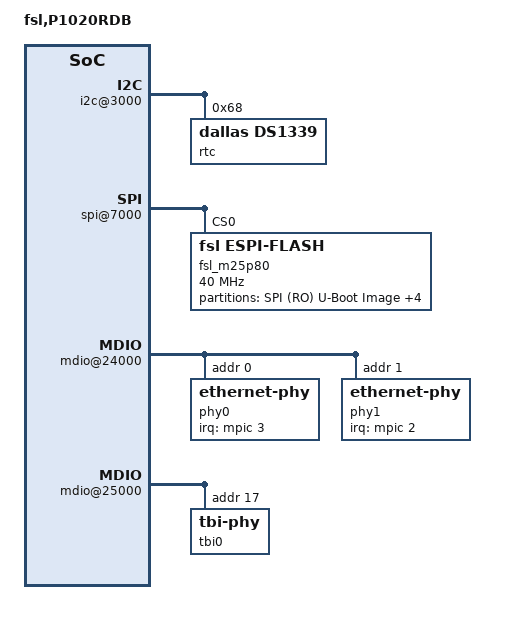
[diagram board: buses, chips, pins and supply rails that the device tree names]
/*
 * P1020 RDB  Core0 Device Tree Source in CAMP mode.
 *
 * In CAMP mode, each core needs to have its own dts. Only mpic and L2 cache
 * can be shared, all the other devices must be assigned to one core only.
 * This dts file allows core0 to have memory, l2, i2c, spi, gpio, tdm, dma, usb,
 * eth1, eth2, sdhc, crypto, global-util, message, pci0, pci1, msi.
 *
 * Please note to add "-b 0" for core0's dts compiling.
 *
 * Copyright 2011 Freescale Semiconductor Inc.
 *
 * This program is free software; you can redistribute  it and/or modify it
 * under  the terms of  the GNU General  Public License as published by the
 * Free Software Foundation;  either version 2 of the  License, or (at your
 * option) any later version.
 */

/include/ "p1020si.dtsi"

/ {
	model = "fsl,P1020RDB";
	compatible = "fsl,P1020RDB", "fsl,MPC85XXRDB-CAMP";

	aliases {
		ethernet1 = &enet1;
		ethernet2 = &enet2;
		serial0 = &serial0;
		pci0 = &pci0;
		pci1 = &pci1;
	};

	cpus {
		PowerPC,P1020@1 {
		status = "disabled";
		};
	};

	memory {
		device_type = "memory";
	};

	localbus@ffe05000 {
		status = "disabled";
	};

	soc@ffe00000 {
		i2c@3000 {
			rtc@68 {
				compatible = "dallas,ds1339";
				reg = <0x68>;
			};
		};

		serial1: serial@4600 {
			status = "disabled";
		};

		spi@7000 {
			fsl_m25p80@0 {
				#address-cells = <1>;
				#size-cells = <1>;
				compatible = "fsl,espi-flash";
				reg = <0>;
				linux,modalias = "fsl_m25p80";
				spi-max-frequency = <40000000>;

				partition@0 {
					/* 512KB for u-boot Bootloader Image */
					reg = <0x0 0x00080000>;
					label = "SPI (RO) U-Boot Image";
					read-only;
				};

				partition@80000 {
					/* 512KB for DTB Image */
					reg = <0x00080000 0x00080000>;
					label = "SPI (RO) DTB Image";
					read-only;
				};

				partition@100000 {
					/* 4MB for Linux Kernel Image */
					reg = <0x00100000 0x00400000>;
					label = "SPI (RO) Linux Kernel Image";
					read-only;
				};

				partition@500000 {
					/* 4MB for Compressed RFS Image */
					reg = <0x00500000 0x00400000>;
					label = "SPI (RO) Compressed RFS Image";
					read-only;
				};

				partition@900000 {
					/* 7MB for JFFS2 based RFS */
					reg = <0x00900000 0x00700000>;
					label = "SPI (RW) JFFS2 RFS";
				};
			};
		};

		mdio@24000 {
			phy0: ethernet-phy@0 {
				interrupt-parent = <&mpic>;
				interrupts = <3 1>;
				reg = <0x0>;
			};
			phy1: ethernet-phy@1 {
				interrupt-parent = <&mpic>;
				interrupts = <2 1>;
				reg = <0x1>;
			};
		};

		mdio@25000 {
			tbi0: tbi-phy@11 {
				reg = <0x11>;
				device_type = "tbi-phy";
			};
		};

		enet0: ethernet@b0000 {
			status = "disabled";
		};

		enet1: ethernet@b1000 {
			phy-handle = <&phy0>;
			tbi-handle = <&tbi0>;
			phy-connection-type = "sgmii";
		};

		enet2: ethernet@b2000 {
			phy-handle = <&phy1>;
			phy-connection-type = "rgmii-id";
		};

		usb@22000 {
			phy_type = "ulpi";
		};

		/* USB2 is shared with localbus, so it must be disabled
		   by default. We can't put 'status = "disabled";' here
		   since U-Boot doesn't clear the status property when
		   it enables USB2. OTOH, U-Boot does create a new node
		   when there isn't any. So, just comment it out.
		usb@23000 {
			phy_type = "ulpi";
		};
		*/

		mpic: pic@40000 {
			protected-sources = <
			42 29 30 34	/* serial1, enet0-queue-group0 */
			17 18 24 45	/* enet0-queue-group1, crypto */
			>;
		};

	};

	pci0: pcie@ffe09000 {
		ranges = <0x2000000 0x0 0xa0000000 0 0xa0000000 0x0 0x20000000
			  0x1000000 0x0 0x00000000 0 0xffc10000 0x0 0x10000>;
		interrupt-map-mask = <0xf800 0x0 0x0 0x7>;
		interrupt-map = <
			/* IDSEL 0x0 */
			0000 0x0 0x0 0x1 &mpic 0x4 0x1
			0000 0x0 0x0 0x2 &mpic 0x5 0x1
			0000 0x0 0x0 0x3 &mpic 0x6 0x1
			0000 0x0 0x0 0x4 &mpic 0x7 0x1
			>;
		pcie@0 {
			reg = <0x0 0x0 0x0 0x0 0x0>;
			#size-cells = <2>;
			#address-cells = <3>;
			device_type = "pci";
			ranges = <0x2000000 0x0 0xa0000000
				  0x2000000 0x0 0xa0000000
				  0x0 0x20000000

				  0x1000000 0x0 0x0
				  0x1000000 0x0 0x0
				  0x0 0x100000>;
		};
	};

	pci1: pcie@ffe0a000 {
		ranges = <0x2000000 0x0 0x80000000 0 0x80000000 0x0 0x20000000
			  0x1000000 0x0 0x00000000 0 0xffc00000 0x0 0x10000>;
		interrupt-map-mask = <0xf800 0x0 0x0 0x7>;
		interrupt-map = <
			/* IDSEL 0x0 */
			0000 0x0 0x0 0x1 &mpic 0x0 0x1
			0000 0x0 0x0 0x2 &mpic 0x1 0x1
			0000 0x0 0x0 0x3 &mpic 0x2 0x1
			0000 0x0 0x0 0x4 &mpic 0x3 0x1
			>;
		pcie@0 {
			reg = <0x0 0x0 0x0 0x0 0x0>;
			#size-cells = <2>;
			#address-cells = <3>;
			device_type = "pci";
			ranges = <0x2000000 0x0 0x80000000
				  0x2000000 0x0 0x80000000
				  0x0 0x20000000

				  0x1000000 0x0 0x0
				  0x1000000 0x0 0x0
				  0x0 0x100000>;
		};
	};
};
